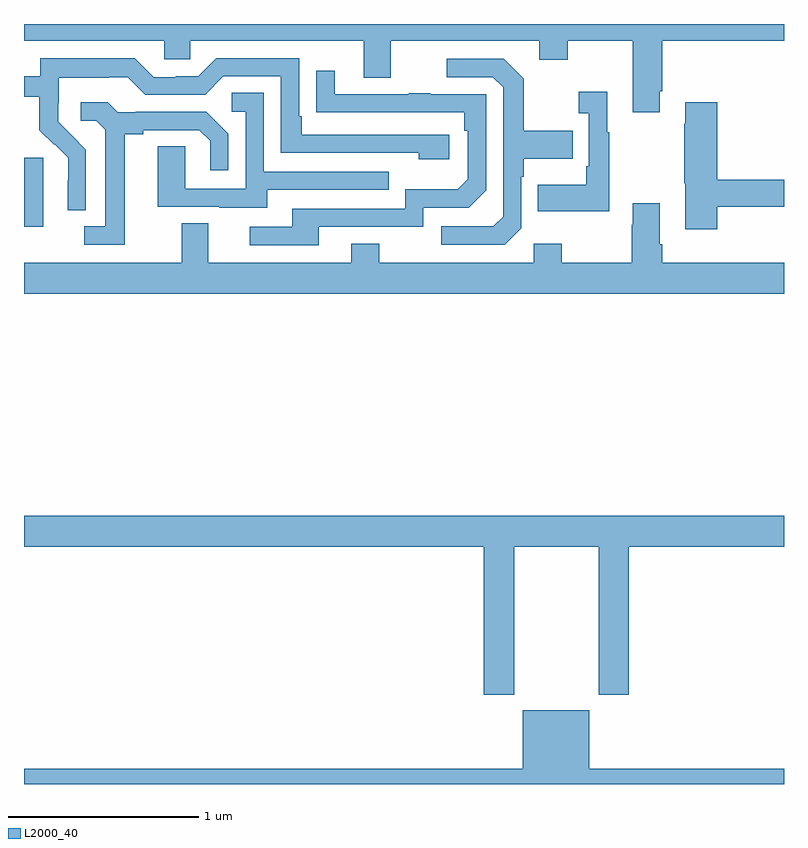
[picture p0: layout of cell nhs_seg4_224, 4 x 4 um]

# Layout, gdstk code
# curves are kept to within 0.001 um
import gdstk
lib = gdstk.Library(unit=1e-6, precision=1e-09)
def R(c, l, rs):  # rectangles x0, y0, x1, y1
    for r in rs: c.add(gdstk.rectangle(r[:2], r[2:], *l))
def P(c, l, *ps):  # polygons
    for p in ps: c.add(gdstk.Polygon(p, *l))
L2000_40 = (2000, 40)

nhs_seg4_224 = lib.new_cell('nhs_seg4_224')
R(nhs_seg4_224, L2000_40, [(121,803.834,121.102,804.195)])
P(nhs_seg4_224, L2000_40, [(124.345,804.547),(124.358,804.547),(124.358,804.812),(125,804.812),(125,804.9),(121,804.9),(121,804.812),(121.737,804.812),(121.737,804.714),(121.875,804.714),(121.875,804.812),(122.789,804.812),(122.789,804.618),(122.929,804.618),(122.929,804.812),(123.713,804.812),(123.713,804.713),(123.861,804.713),(123.861,804.812),(124.205,804.812),(124.205,804.435),(124.345,804.435)],
  [(121.326,804.238),(121.18,804.386),(121.18,804.483),(121.182,804.483),(121.182,804.617),(121.445,804.617),(121.445,804.621),(121.545,804.621),(121.638,804.528),(121.953,804.528),(122.049,804.624),(122.352,804.624),(122.352,804.222),(123.077,804.222),(123.077,804.188),(123.238,804.188),(123.238,804.318),(122.461,804.318),(122.461,804.415),(122.448,804.415),(122.448,804.72),(122.013,804.72),(121.917,804.624),(121.799,804.624),(121.799,804.621),(121.683,804.621),(121.583,804.721),(121.086,804.721),(121.086,804.624),(121,804.624),(121,804.516),(121.081,804.516),(121.081,804.341),(121.158,804.264),(121.161,804.267),(121.232,804.197),(121.232,804.074),(121.23,804.074),(121.23,803.92),(121.326,803.92)],
  [(123.618,803.826),(123.618,804.095),(123.631,804.095),(123.631,804.191),(123.887,804.191),(123.887,804.339),(123.631,804.339),(123.631,804.611),(123.525,804.717),(123.225,804.717),(123.225,804.621),(123.468,804.621),(123.522,804.567),(123.522,803.886),(123.471,803.835),(123.195,803.835),(123.195,803.739),(123.531,803.739)],
  [(122.551,803.832),(123.102,803.832),(123.102,803.934),(123.342,803.934),(123.432,804.024),(123.432,804.531),(123.137,804.531),(123.137,804.536),(123.025,804.536),(123.025,804.531),(122.635,804.531),(122.635,804.655),(122.539,804.655),(122.539,804.436),(123.316,804.435),(123.316,804.338),(123.336,804.338),(123.336,804.084),(123.283,804.031),(123.006,804.031),(123.006,803.928),(122.411,803.928),(122.411,803.832),(122.187,803.832),(122.187,803.736),(122.551,803.736)],
  [(124.081,804.331),(124.069,804.331),(124.069,804.544),(123.921,804.544),(123.921,804.431),(123.972,804.431),(123.972,804.151),(123.96,804.151),(123.96,804.055),(123.703,804.055),(123.703,803.915),(124.081,803.915)],
  [(122.281,804.027),(122.921,804.027),(122.921,804.123),(122.262,804.123),(122.262,804.539),(122.094,804.539),(122.094,804.438),(122.166,804.438),(122.166,804.033),(121.848,804.033),(121.848,804.257),(121.703,804.257),(121.703,803.937),(122.027,803.937),(122.027,803.933),(122.281,803.933)],
  [(121.531,804.32),(121.627,804.32),(121.627,804.342),(121.922,804.342),(121.979,804.285),(121.979,804.129),(122.076,804.129),(122.076,804.322),(121.96,804.438),(121.588,804.438),(121.588,804.435),(121.494,804.435),(121.442,804.487),(121.299,804.487),(121.299,804.39),(121.38,804.39),(121.427,804.343),(121.427,803.835),(121.317,803.835),(121.317,803.739),(121.531,803.739)],
  [(124.649,803.938),(125,803.938),(125,804.08),(124.649,804.08),(124.649,804.487),(124.481,804.487),(124.481,804.374),(124.474,804.374),(124.474,804.063),(124.481,804.063),(124.481,803.82),(124.649,803.82)],
  [(125,803.644),(124.358,803.644),(124.358,803.74),(124.345,803.74),(124.345,803.956),(124.205,803.956),(124.205,803.843),(124.198,803.843),(124.198,803.644),(123.831,803.644),(123.831,803.743),(123.684,803.743),(123.684,803.644),(122.871,803.644),(122.871,803.743),(122.723,803.743),(122.723,803.644),(121.969,803.644),(121.969,803.852),(121.829,803.852),(121.829,803.644),(121,803.644),(121,803.48),(125,803.48)],
  [(123.579,802.148),(124.024,802.148),(124.024,801.369),(124.184,801.369),(124.184,802.148),(125,802.148),(125,802.312),(121,802.312),(121,802.148),(123.419,802.148),(123.419,801.369),(123.579,801.369)],
  [(125,800.98),(123.976,800.98),(123.976,801.289),(123.626,801.289),(123.626,800.98),(121,800.98),(121,800.9),(125,800.9)])

lib.write_gds('nhs_seg4_224.gds')
